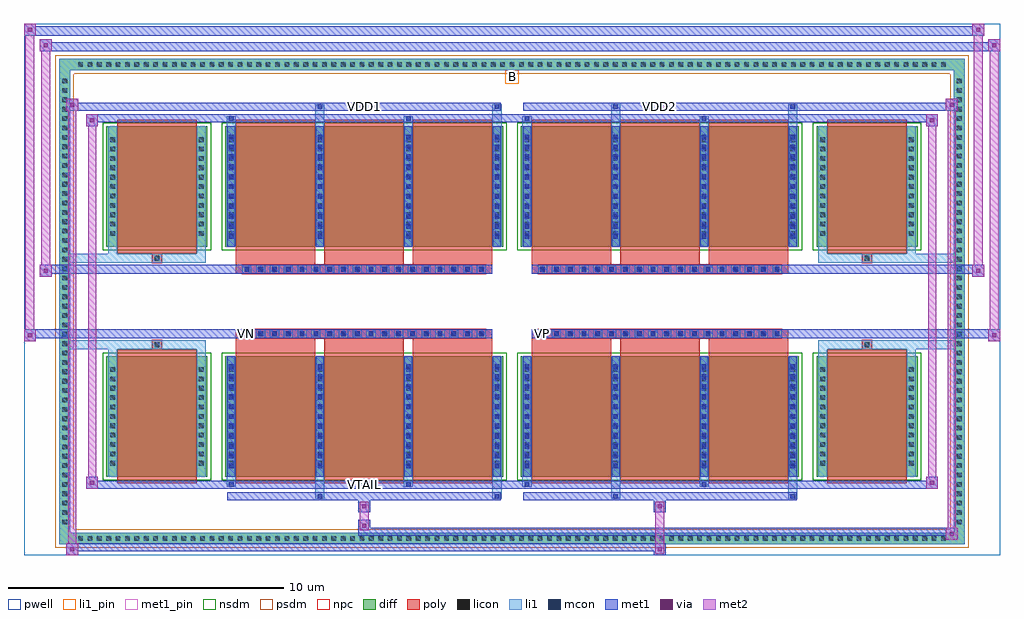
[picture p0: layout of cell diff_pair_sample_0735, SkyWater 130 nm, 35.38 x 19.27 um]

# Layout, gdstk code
import gdstk
lib = gdstk.Library(unit=1e-6, precision=5e-09)
def R(c, l, rs):  # rectangles x0, y0, x1, y1
    for r in rs: c.add(gdstk.rectangle(r[:2], r[2:], *l))
def A(c, l, x, y, w, h, nx, ny, dx, dy):  # array of equal rectangles
    R(c, l, [(x+i*dx, y+j*dy, x+i*dx+w, y+j*dy+h) for i in range(nx) for j in range(ny)])
def P(c, l, *ps):  # polygons
    for p in ps: c.add(gdstk.Polygon(p, *l))
pwell = (64, 44)
diff = (65, 20)
poly = (66, 20)
licon = (66, 44)
li1_pin = (67, 16)
li1 = (67, 20)
mcon = (67, 44)
met1_pin = (68, 16)
met1 = (68, 20)
via = (68, 44)
met2 = (69, 20)
nsdm = (93, 44)
psdm = (94, 20)
npc = (95, 20)

diff_pair_sample_0735 = lib.new_cell('diff_pair_sample_0735')
R(diff_pair_sample_0735, pwell, [(-17.69,-9.2,17.69,10.07), (-15.01,-7.39,-0.01,-0.805), (0.01,-7.39,15.01,-0.805), (-15.01,0.805,-0.01,7.39), (0.01,0.805,15.01,7.39)])
A(diff_pair_sample_0735, diff, -15.845, -8.8, 0.41, 0.41, 93, 2, 0.34, 17.19)
A(diff_pair_sample_0735, diff, -16.42, -8.195, 0.41, 0.41, 1, 48, 0, 0.34)
A(diff_pair_sample_0735, diff, 16.01, -8.195, 0.41, 0.41, 1, 48, 0, 0.34)
R(diff_pair_sample_0735, diff, [(-15.845,-8.8,15.845,-8.39), (-16.42,-8.195,-16.01,8.195), (16.01,-8.195,16.42,8.195), (-14.7,-6.345,-11.04,-1.985), (-10.4,-6.345,-0.32,-1.985), (0.32,-6.345,10.4,-1.985), (11.04,-6.345,14.7,-1.985), (-14.7,1.985,-11.04,6.345), (-10.4,1.985,-0.32,6.345), (0.32,1.985,10.4,6.345), (11.04,1.985,14.7,6.345), (-15.845,8.39,15.845,8.8)])
P(diff_pair_sample_0735, diff, [(16.42,8.8),(-16.42,8.8),(-16.42,-8.39),(-16.01,-8.39),(-16.01,8.39),(16.01,8.39),(16.01,-8.39),(-16.01,-8.39),(-16.42,-8.39),(-16.42,-8.8),(16.42,-8.8)])
A(diff_pair_sample_0735, poly, -10.01, -6.595, 2.88, 4.86, 3, 2, 3.21, 8.33)
A(diff_pair_sample_0735, poly, 0.71, -6.595, 2.88, 4.86, 3, 2, 3.21, 8.33)
A(diff_pair_sample_0735, poly, -10.01, -1.735, 2.88, 0.4, 3, 2, 3.21, 3.07)
A(diff_pair_sample_0735, poly, 0.71, -1.735, 2.88, 0.4, 3, 2, 3.21, 3.07)
A(diff_pair_sample_0735, poly, -9.775, -1.335, 0.33, 0.33, 18, 2, 0.5, 2.34)
A(diff_pair_sample_0735, poly, 0.945, -1.335, 0.33, 0.33, 18, 2, 0.5, 2.34)
R(diff_pair_sample_0735, poly, [(-14.31,-6.595,-11.43,-1.735), (11.43,-6.595,14.31,-1.735), (-13.035,-1.735,-12.705,-1.405), (-13.035,-1.735,-12.705,-1.405), (12.705,-1.735,13.035,-1.405), (12.705,-1.735,13.035,-1.405), (-10.01,-1.335,-0.71,-1.005), (0.71,-1.335,10.01,-1.005), (-10.01,1.005,-0.71,1.335), (0.71,1.005,10.01,1.335), (-13.035,1.405,-12.705,1.735), (-13.035,1.405,-12.705,1.735), (12.705,1.405,13.035,1.735), (12.705,1.405,13.035,1.735), (-14.31,1.735,-11.43,6.595), (11.43,1.735,14.31,6.595)])
A(diff_pair_sample_0735, licon, -15.725, -8.68, 0.17, 0.17, 93, 2, 0.34, 17.19)
A(diff_pair_sample_0735, licon, -16.3, -8.075, 0.17, 0.17, 1, 48, 0, 0.34)
A(diff_pair_sample_0735, licon, 16.13, -8.075, 0.17, 0.17, 1, 48, 0, 0.34)
A(diff_pair_sample_0735, licon, -14.56, -5.95, 0.17, 0.17, 1, 11, 0, 0.34)
A(diff_pair_sample_0735, licon, -11.35, -5.95, 0.17, 0.17, 1, 11, 0, 0.34)
A(diff_pair_sample_0735, licon, -10.26, -5.95, 0.17, 0.17, 4, 11, 3.21, 0.34)
A(diff_pair_sample_0735, licon, 0.46, -5.95, 0.17, 0.17, 4, 11, 3.21, 0.34)
A(diff_pair_sample_0735, licon, 11.18, -5.95, 0.17, 0.17, 1, 11, 0, 0.34)
A(diff_pair_sample_0735, licon, 14.39, -5.95, 0.17, 0.17, 1, 11, 0, 0.34)
A(diff_pair_sample_0735, licon, -9.695, -1.255, 0.17, 0.17, 18, 2, 0.5, 2.34)
A(diff_pair_sample_0735, licon, 1.025, -1.255, 0.17, 0.17, 18, 2, 0.5, 2.34)
A(diff_pair_sample_0735, licon, -14.56, 2.38, 0.17, 0.17, 1, 11, 0, 0.34)
A(diff_pair_sample_0735, licon, -11.35, 2.38, 0.17, 0.17, 1, 11, 0, 0.34)
A(diff_pair_sample_0735, licon, -10.26, 2.38, 0.17, 0.17, 4, 11, 3.21, 0.34)
A(diff_pair_sample_0735, licon, 0.46, 2.38, 0.17, 0.17, 4, 11, 3.21, 0.34)
A(diff_pair_sample_0735, licon, 11.18, 2.38, 0.17, 0.17, 1, 11, 0, 0.34)
A(diff_pair_sample_0735, licon, 14.39, 2.38, 0.17, 0.17, 1, 11, 0, 0.34)
R(diff_pair_sample_0735, licon, [(-12.955,-1.655,-12.785,-1.485), (12.785,-1.655,12.955,-1.485), (-12.955,1.485,-12.785,1.655), (12.785,1.485,12.955,1.655)])
R(diff_pair_sample_0735, li1_pin, [(-0.25,7.89,0.25,8.39)])
A(diff_pair_sample_0735, li1, -15.805, -8.76, 0.33, 0.33, 93, 2, 0.34, 17.19)
A(diff_pair_sample_0735, li1, -16.38, -8.155, 0.33, 0.33, 1, 48, 0, 0.34)
A(diff_pair_sample_0735, li1, 16.05, -8.155, 0.33, 0.33, 1, 48, 0, 0.34)
A(diff_pair_sample_0735, li1, -10.34, -6.345, 0.33, 4.36, 4, 2, 3.21, 8.33)
A(diff_pair_sample_0735, li1, 0.38, -6.345, 0.33, 4.36, 4, 2, 3.21, 8.33)
A(diff_pair_sample_0735, li1, -10.26, -6.05, 0.17, 0.17, 4, 11, 3.21, 0.36)
A(diff_pair_sample_0735, li1, -10.26, -6.05, 0.17, 3.77, 4, 2, 3.21, 8.33)
A(diff_pair_sample_0735, li1, 0.46, -6.05, 0.17, 0.17, 4, 11, 3.21, 0.36)
A(diff_pair_sample_0735, li1, 0.46, -6.05, 0.17, 3.77, 4, 2, 3.21, 8.33)
A(diff_pair_sample_0735, li1, -14.64, -6.03, 0.33, 0.33, 1, 11, 0, 0.34)
A(diff_pair_sample_0735, li1, -11.43, -6.03, 0.33, 0.33, 1, 11, 0, 0.34)
A(diff_pair_sample_0735, li1, -10.34, -6.03, 0.33, 0.33, 4, 11, 3.21, 0.34)
A(diff_pair_sample_0735, li1, 0.38, -6.03, 0.33, 0.33, 4, 11, 3.21, 0.34)
A(diff_pair_sample_0735, li1, 11.1, -6.03, 0.33, 0.33, 1, 11, 0, 0.34)
A(diff_pair_sample_0735, li1, 14.31, -6.03, 0.33, 0.33, 1, 11, 0, 0.34)
A(diff_pair_sample_0735, li1, -9.775, -1.335, 0.33, 0.33, 18, 2, 0.5, 2.34)
A(diff_pair_sample_0735, li1, 0.945, -1.335, 0.33, 0.33, 18, 2, 0.5, 2.34)
A(diff_pair_sample_0735, li1, -10.26, 2.28, 0.17, 0.17, 4, 11, 3.21, 0.36)
A(diff_pair_sample_0735, li1, 0.46, 2.28, 0.17, 0.17, 4, 11, 3.21, 0.36)
A(diff_pair_sample_0735, li1, -14.64, 2.3, 0.33, 0.33, 1, 11, 0, 0.34)
A(diff_pair_sample_0735, li1, -11.43, 2.3, 0.33, 0.33, 1, 11, 0, 0.34)
A(diff_pair_sample_0735, li1, -10.34, 2.3, 0.33, 0.33, 4, 11, 3.21, 0.34)
A(diff_pair_sample_0735, li1, 0.38, 2.3, 0.33, 0.33, 4, 11, 3.21, 0.34)
A(diff_pair_sample_0735, li1, 11.1, 2.3, 0.33, 0.33, 1, 11, 0, 0.34)
A(diff_pair_sample_0735, li1, 14.31, 2.3, 0.33, 0.33, 1, 11, 0, 0.34)
R(diff_pair_sample_0735, li1, [(-16.42,-8.8,-16.01,-8.39), (-16.42,-8.8,-16.01,-8.39), (-16.01,-8.8,16.01,-8.39), (16.01,-8.8,16.42,-8.39), (16.01,-8.8,16.42,-8.39), (-16.42,-8.39,-16.01,8.39), (16.01,-8.39,16.42,8.39), (-7.13,-7.15,-6.8,-6.345), (-7.05,-7.15,-6.88,-6.98), (-0.71,-7.15,-0.38,-6.345), (-0.63,-7.15,-0.46,-6.98), (3.59,-7.15,3.92,-6.345), (3.67,-7.15,3.84,-6.98), (10.01,-7.15,10.34,-6.345), (10.09,-7.15,10.26,-6.98), (-10.34,-6.72,-10.01,-6.345), (-10.26,-6.72,-10.09,-6.55), (-3.92,-6.72,-3.59,-6.345), (-3.84,-6.72,-3.67,-6.55), (0.38,-6.72,0.71,-6.345), (0.46,-6.72,0.63,-6.55), (6.8,-6.72,7.13,-6.345), (6.88,-6.72,7.05,-6.55), (-14.64,-6.345,-14.31,-1.985), (-11.43,-6.345,-11.1,-1.985), (11.1,-6.345,11.43,-1.985), (14.31,-6.345,14.64,-1.985), (-14.64,-1.985,-14.31,-1.405), (-11.43,-1.985,-11.1,-1.405), (11.1,-1.985,11.43,-1.405), (14.31,-1.985,14.64,-1.405), (-16.42,-1.735,-13.035,-1.405), (-14.64,-1.735,-13.035,-1.405), (-13.035,-1.735,-12.705,-1.405), (-12.705,-1.735,-11.1,-1.405), (11.1,-1.735,12.705,-1.405), (12.705,-1.735,13.035,-1.405), (12.705,-1.735,16.42,-1.405), (13.035,-1.735,14.64,-1.405), (-16.42,1.405,-13.035,1.735), (-14.64,1.405,-13.035,1.735), (-14.64,1.405,-14.31,1.985), (-13.035,1.405,-12.705,1.735), (-12.705,1.405,-11.1,1.735), (-11.43,1.405,-11.1,1.985), (11.1,1.405,12.705,1.735), (11.1,1.405,11.43,1.985), (12.705,1.405,13.035,1.735), (12.705,1.405,16.42,1.735), (13.035,1.405,14.64,1.735), (14.31,1.405,14.64,1.985), (-14.64,1.985,-14.31,6.345), (-11.43,1.985,-11.1,6.345), (11.1,1.985,11.43,6.345), (14.31,1.985,14.64,6.345), (-10.34,6.345,-10.01,6.72), (-7.13,6.345,-6.8,7.15), (-3.92,6.345,-3.59,6.72), (-0.71,6.345,-0.38,7.15), (0.38,6.345,0.71,6.72), (3.59,6.345,3.92,7.15), (6.8,6.345,7.13,6.72), (10.01,6.345,10.34,7.15), (-10.26,6.55,-10.09,6.72), (-3.84,6.55,-3.67,6.72), (0.46,6.55,0.63,6.72), (6.88,6.55,7.05,6.72), (-7.05,6.98,-6.88,7.15), (-0.63,6.98,-0.46,7.15), (3.67,6.98,3.84,7.15), (10.09,6.98,10.26,7.15), (-16.42,8.39,-16.01,8.8), (-16.42,8.39,-16.01,8.8), (-16.01,8.39,16.01,8.8), (16.01,8.39,16.42,8.8), (16.01,8.39,16.42,8.8)])
A(diff_pair_sample_0735, mcon, -10.26, -6.05, 0.17, 0.17, 4, 11, 3.21, 0.36)
A(diff_pair_sample_0735, mcon, 0.46, -6.05, 0.17, 0.17, 4, 11, 3.21, 0.36)
A(diff_pair_sample_0735, mcon, -9.695, -1.255, 0.17, 0.17, 18, 2, 0.5, 2.34)
A(diff_pair_sample_0735, mcon, 1.025, -1.255, 0.17, 0.17, 18, 2, 0.5, 2.34)
A(diff_pair_sample_0735, mcon, -10.26, 2.28, 0.17, 0.17, 4, 11, 3.21, 0.36)
A(diff_pair_sample_0735, mcon, 0.46, 2.28, 0.17, 0.17, 4, 11, 3.21, 0.36)
R(diff_pair_sample_0735, mcon, [(-7.05,-7.15,-6.88,-6.98), (-0.63,-7.15,-0.46,-6.98), (3.67,-7.15,3.84,-6.98), (10.09,-7.15,10.26,-6.98), (-10.26,-6.72,-10.09,-6.55), (-3.84,-6.72,-3.67,-6.55), (0.46,-6.72,0.63,-6.55), (6.88,-6.72,7.05,-6.55), (-10.26,6.55,-10.09,6.72), (-3.84,6.55,-3.67,6.72), (0.46,6.55,0.63,6.72), (6.88,6.55,7.05,6.72), (-7.05,6.98,-6.88,7.15), (-0.63,6.98,-0.46,7.15), (3.67,6.98,3.84,7.15), (10.09,6.98,10.26,7.15)])
R(diff_pair_sample_0735, met1_pin, [(-5.495,-6.76,-5.225,-6.49), (-9.745,-1.295,-9.475,-1.025), (0.975,-1.295,1.245,-1.025), (-5.495,6.94,-5.225,7.21), (5.225,6.94,5.495,7.21)])
A(diff_pair_sample_0735, met1, -10.32, -6.345, 0.29, 4.36, 4, 2, 3.21, 8.33)
A(diff_pair_sample_0735, met1, 0.4, -6.345, 0.29, 4.36, 4, 2, 3.21, 8.33)
A(diff_pair_sample_0735, met1, -10.32, -6.11, 0.29, 0.29, 4, 11, 3.21, 0.36)
A(diff_pair_sample_0735, met1, 0.4, -6.11, 0.29, 0.29, 4, 11, 3.21, 0.36)
A(diff_pair_sample_0735, met1, -9.755, -1.315, 0.29, 0.29, 18, 2, 0.5, 2.34)
A(diff_pair_sample_0735, met1, 0.965, -1.315, 0.29, 0.29, 18, 2, 0.5, 2.34)
A(diff_pair_sample_0735, met1, -10.32, 2.22, 0.29, 0.29, 4, 11, 3.21, 0.36)
A(diff_pair_sample_0735, met1, 0.4, 2.22, 0.29, 0.29, 4, 11, 3.21, 0.36)
R(diff_pair_sample_0735, met1, [(-16.15,-9.2,-15.72,-8.77), (5.145,-9.2,5.575,-8.77), (-16.15,-9.06,5.575,-8.77), (15.72,-8.63,16.15,-8.2), (-5.575,-8.49,16.15,-8.2), (-5.575,-8.35,-5.145,-7.92), (-5.575,-7.64,-5.145,-7.21), (5.145,-7.64,5.575,-7.21), (-10.32,-7.21,-0.4,-6.92), (-7.11,-7.21,-6.82,-6.92), (-0.69,-7.21,-0.4,-6.92), (0.4,-7.21,10.32,-6.92), (3.61,-7.21,3.9,-6.92), (10.03,-7.21,10.32,-6.92), (-15.44,-6.78,-15.01,-6.35), (-15.44,-6.78,-10.32,-6.49), (-10.32,-6.78,-10.03,-6.49), (-10.32,-6.78,-0.4,-6.49), (-3.9,-6.78,-3.61,-6.49), (-0.4,-6.78,0.4,-6.49), (0.4,-6.78,0.69,-6.49), (0.4,-6.78,10.32,-6.49), (6.82,-6.78,7.11,-6.49), (10.32,-6.78,15.44,-6.49), (15.01,-6.78,15.44,-6.35), (-17.69,-1.435,-17.26,-1.005), (17.26,-1.435,17.69,-1.005), (-17.69,-1.335,-0.71,-1.005), (-10.01,-1.335,-0.71,-1.005), (0.71,-1.335,10.01,-1.005), (0.71,-1.335,17.69,-1.005), (-17.12,0.905,-16.69,1.335), (16.69,0.905,17.12,1.335), (-17.12,1.005,-10.01,1.335), (-10.01,1.005,-0.71,1.335), (0.71,1.005,10.01,1.335), (10.01,1.005,17.12,1.335), (-15.44,6.35,-15.01,6.78), (15.01,6.35,15.44,6.78), (-15.44,6.49,-10.32,6.78), (-10.32,6.49,-10.03,6.78), (-10.32,6.49,-0.4,6.78), (-3.9,6.49,-3.61,6.78), (-0.4,6.49,0.4,6.78), (0.4,6.49,0.69,6.78), (0.4,6.49,10.32,6.78), (6.82,6.49,7.11,6.78), (10.32,6.49,15.44,6.78), (-16.15,6.92,-15.72,7.35), (-16.15,6.92,-10.32,7.21), (-10.32,6.92,-0.4,7.21), (-7.11,6.92,-6.82,7.21), (-0.69,6.92,-0.4,7.21), (0.4,6.92,10.32,7.21), (3.61,6.92,3.9,7.21), (10.03,6.92,10.32,7.21), (10.32,6.92,16.15,7.21), (15.72,6.92,16.15,7.35), (-17.12,9.07,-16.69,9.5), (-17.12,9.07,-15.01,9.4), (-15.01,9.07,15.01,9.4), (15.01,9.07,17.69,9.4), (17.26,9.07,17.69,9.5), (-17.69,9.64,-17.26,10.07), (-17.69,9.64,-15.01,9.97), (-15.01,9.64,15.01,9.97), (15.01,9.64,17.12,9.97), (16.69,9.64,17.12,10.07)])
R(diff_pair_sample_0735, via, [(-16.01,-9.06,-15.86,-8.91), (5.285,-9.06,5.435,-8.91), (15.86,-8.49,16.01,-8.34), (-5.435,-8.21,-5.285,-8.06), (-5.435,-7.5,-5.285,-7.35), (5.285,-7.5,5.435,-7.35), (-15.3,-6.64,-15.15,-6.49), (15.15,-6.64,15.3,-6.49), (-17.55,-1.295,-17.4,-1.145), (17.4,-1.295,17.55,-1.145), (-16.98,1.045,-16.83,1.195), (16.83,1.045,16.98,1.195), (-15.3,6.49,-15.15,6.64), (15.15,6.49,15.3,6.64), (-16.01,7.06,-15.86,7.21), (15.86,7.06,16.01,7.21), (-16.98,9.21,-16.83,9.36), (17.4,9.21,17.55,9.36), (-17.55,9.78,-17.4,9.93), (16.83,9.78,16.98,9.93)])
R(diff_pair_sample_0735, met2, [(-16.15,-9.2,-15.72,-8.77), (-16.08,-9.2,-15.79,7.35), (-15.79,-9.2,-15.72,-8.77), (-16.1,-9.15,-15.77,-8.82), (5.195,-9.15,5.525,-8.82), (5.195,-8.82,5.525,-7.59), (15.72,-8.63,16.15,-8.2), (15.79,-8.63,16.08,7.35), (16.08,-8.63,16.15,-8.2), (15.77,-8.58,16.1,-8.25), (-5.525,-8.3,-5.195,-7.97), (-5.525,-7.97,-5.195,-7.59), (-5.525,-7.59,-5.195,-7.26), (5.195,-7.59,5.525,-7.26), (-15.44,-6.78,-15.01,-6.35), (-15.37,-6.78,-15.08,6.78), (-15.08,-6.78,-15.01,-6.35), (15.01,-6.78,15.44,-6.35), (15.08,-6.78,15.37,6.78), (15.37,-6.78,15.44,-6.35), (-15.39,-6.73,-15.06,-6.4), (15.06,-6.73,15.39,-6.4), (-17.69,-1.435,-17.26,-1.005), (-17.64,-1.435,-17.31,10.07), (-17.31,-1.435,-17.26,-1.005), (17.26,-1.435,17.69,-1.005), (17.31,-1.435,17.64,9.5), (17.64,-1.435,17.69,-1.005), (-17.64,-1.385,-17.31,-1.055), (17.31,-1.385,17.64,-1.055), (-17.12,0.905,-16.69,1.335), (-17.07,0.905,-16.74,9.5), (-16.74,0.905,-16.69,1.335), (16.69,0.905,17.12,1.335), (16.74,0.905,17.07,10.07), (17.07,0.905,17.12,1.335), (-17.07,0.955,-16.74,1.285), (16.74,0.955,17.07,1.285), (-15.44,6.35,-15.01,6.78), (-15.08,6.35,-15.01,6.78), (15.01,6.35,15.44,6.78), (15.37,6.35,15.44,6.78), (-15.39,6.4,-15.06,6.73), (15.06,6.4,15.39,6.73), (-16.15,6.92,-15.72,7.35), (-15.79,6.92,-15.72,7.35), (15.72,6.92,16.15,7.35), (16.08,6.92,16.15,7.35), (-16.1,6.97,-15.77,7.3), (15.77,6.97,16.1,7.3), (-17.12,9.07,-16.69,9.5), (-16.74,9.07,-16.69,9.5), (17.26,9.07,17.69,9.5), (17.64,9.07,17.69,9.5), (-17.07,9.12,-16.74,9.45), (17.31,9.12,17.64,9.45), (-17.69,9.64,-17.26,10.07), (-17.31,9.64,-17.26,10.07), (16.69,9.64,17.12,10.07), (17.07,9.64,17.12,10.07), (-17.64,9.69,-17.31,10.02), (16.74,9.69,17.07,10.02)])
R(diff_pair_sample_0735, nsdm, [(-14.83,-6.475,-10.91,-1.855), (-10.53,-6.475,-0.19,-1.855), (0.19,-6.475,10.53,-1.855), (10.91,-6.475,14.83,-1.855), (-14.83,1.855,-10.91,6.475), (-10.53,1.855,-0.19,6.475), (0.19,1.855,10.53,6.475), (10.91,1.855,14.83,6.475)])
P(diff_pair_sample_0735, psdm, [(16.55,8.93),(-16.55,8.93),(-16.55,-8.26),(-15.88,-8.26),(-15.88,8.26),(15.88,8.26),(15.88,-8.26),(-15.88,-8.26),(-16.55,-8.26),(-16.55,-8.93),(16.55,-8.93)])
A(diff_pair_sample_0735, npc, -9.795, -1.355, 0.37, 0.37, 18, 2, 0.5, 2.34)
A(diff_pair_sample_0735, npc, 0.925, -1.355, 0.37, 0.37, 18, 2, 0.5, 2.34)
R(diff_pair_sample_0735, npc, [(-13.055,-1.755,-12.685,-1.385), (12.685,-1.755,13.055,-1.385), (-9.795,-1.355,-8.925,-0.985), (-9.795,-1.355,-8.925,-0.985), (-9.295,-1.355,-8.425,-0.985), (-9.295,-1.355,-8.425,-0.985), (-8.795,-1.355,-7.925,-0.985), (-8.795,-1.355,-7.925,-0.985), (-8.295,-1.355,-7.425,-0.985), (-8.295,-1.355,-7.425,-0.985), (-7.795,-1.355,-6.925,-0.985), (-7.795,-1.355,-6.925,-0.985), (-7.295,-1.355,-6.425,-0.985), (-7.295,-1.355,-6.425,-0.985), (-6.795,-1.355,-5.925,-0.985), (-6.795,-1.355,-5.925,-0.985), (-6.295,-1.355,-5.425,-0.985), (-6.295,-1.355,-5.425,-0.985), (-5.795,-1.355,-4.925,-0.985), (-5.795,-1.355,-4.925,-0.985), (-5.295,-1.355,-4.425,-0.985), (-5.295,-1.355,-4.425,-0.985), (-4.795,-1.355,-3.925,-0.985), (-4.795,-1.355,-3.925,-0.985), (-4.295,-1.355,-3.425,-0.985), (-4.295,-1.355,-3.425,-0.985), (-3.795,-1.355,-2.925,-0.985), (-3.795,-1.355,-2.925,-0.985), (-3.295,-1.355,-2.425,-0.985), (-3.295,-1.355,-2.425,-0.985), (-2.795,-1.355,-1.925,-0.985), (-2.795,-1.355,-1.925,-0.985), (-2.295,-1.355,-1.425,-0.985), (-2.295,-1.355,-1.425,-0.985), (-1.795,-1.355,-0.925,-0.985), (-1.795,-1.355,-0.925,-0.985), (0.925,-1.355,1.795,-0.985), (0.925,-1.355,1.795,-0.985), (1.425,-1.355,2.295,-0.985), (1.425,-1.355,2.295,-0.985), (1.925,-1.355,2.795,-0.985), (1.925,-1.355,2.795,-0.985), (2.425,-1.355,3.295,-0.985), (2.425,-1.355,3.295,-0.985), (2.925,-1.355,3.795,-0.985), (2.925,-1.355,3.795,-0.985), (3.425,-1.355,4.295,-0.985), (3.425,-1.355,4.295,-0.985), (3.925,-1.355,4.795,-0.985), (3.925,-1.355,4.795,-0.985), (4.425,-1.355,5.295,-0.985), (4.425,-1.355,5.295,-0.985), (4.925,-1.355,5.795,-0.985), (4.925,-1.355,5.795,-0.985), (5.425,-1.355,6.295,-0.985), (5.425,-1.355,6.295,-0.985), (5.925,-1.355,6.795,-0.985), (5.925,-1.355,6.795,-0.985), (6.425,-1.355,7.295,-0.985), (6.425,-1.355,7.295,-0.985), (6.925,-1.355,7.795,-0.985), (6.925,-1.355,7.795,-0.985), (7.425,-1.355,8.295,-0.985), (7.425,-1.355,8.295,-0.985), (7.925,-1.355,8.795,-0.985), (7.925,-1.355,8.795,-0.985), (8.425,-1.355,9.295,-0.985), (8.425,-1.355,9.295,-0.985), (8.925,-1.355,9.795,-0.985), (8.925,-1.355,9.795,-0.985), (-9.795,0.985,-8.925,1.355), (-9.795,0.985,-8.925,1.355), (-9.295,0.985,-8.425,1.355), (-9.295,0.985,-8.425,1.355), (-8.795,0.985,-7.925,1.355), (-8.795,0.985,-7.925,1.355), (-8.295,0.985,-7.425,1.355), (-8.295,0.985,-7.425,1.355), (-7.795,0.985,-6.925,1.355), (-7.795,0.985,-6.925,1.355), (-7.295,0.985,-6.425,1.355), (-7.295,0.985,-6.425,1.355), (-6.795,0.985,-5.925,1.355), (-6.795,0.985,-5.925,1.355), (-6.295,0.985,-5.425,1.355), (-6.295,0.985,-5.425,1.355), (-5.795,0.985,-4.925,1.355), (-5.795,0.985,-4.925,1.355), (-5.295,0.985,-4.425,1.355), (-5.295,0.985,-4.425,1.355), (-4.795,0.985,-3.925,1.355), (-4.795,0.985,-3.925,1.355), (-4.295,0.985,-3.425,1.355), (-4.295,0.985,-3.425,1.355), (-3.795,0.985,-2.925,1.355), (-3.795,0.985,-2.925,1.355), (-3.295,0.985,-2.425,1.355), (-3.295,0.985,-2.425,1.355), (-2.795,0.985,-1.925,1.355), (-2.795,0.985,-1.925,1.355), (-2.295,0.985,-1.425,1.355), (-2.295,0.985,-1.425,1.355), (-1.795,0.985,-0.925,1.355), (-1.795,0.985,-0.925,1.355), (0.925,0.985,1.795,1.355), (0.925,0.985,1.795,1.355), (1.425,0.985,2.295,1.355), (1.425,0.985,2.295,1.355), (1.925,0.985,2.795,1.355), (1.925,0.985,2.795,1.355), (2.425,0.985,3.295,1.355), (2.425,0.985,3.295,1.355), (2.925,0.985,3.795,1.355), (2.925,0.985,3.795,1.355), (3.425,0.985,4.295,1.355), (3.425,0.985,4.295,1.355), (3.925,0.985,4.795,1.355), (3.925,0.985,4.795,1.355), (4.425,0.985,5.295,1.355), (4.425,0.985,5.295,1.355), (4.925,0.985,5.795,1.355), (4.925,0.985,5.795,1.355), (5.425,0.985,6.295,1.355), (5.425,0.985,6.295,1.355), (5.925,0.985,6.795,1.355), (5.925,0.985,6.795,1.355), (6.425,0.985,7.295,1.355), (6.425,0.985,7.295,1.355), (6.925,0.985,7.795,1.355), (6.925,0.985,7.795,1.355), (7.425,0.985,8.295,1.355), (7.425,0.985,8.295,1.355), (7.925,0.985,8.795,1.355), (7.925,0.985,8.795,1.355), (8.425,0.985,9.295,1.355), (8.425,0.985,9.295,1.355), (8.925,0.985,9.795,1.355), (8.925,0.985,9.795,1.355), (-13.055,1.385,-12.685,1.755), (12.685,1.385,13.055,1.755)])
diff_pair_sample_0735.add(gdstk.Label('VTAIL', (-5.36,-6.625), layer=68, texttype=5))
diff_pair_sample_0735.add(gdstk.Label('VN', (-9.61,-1.16), layer=68, texttype=5))
diff_pair_sample_0735.add(gdstk.Label('VP', (1.11,-1.16), layer=68, texttype=5))
diff_pair_sample_0735.add(gdstk.Label('B', (0,8.14), layer=67, texttype=5))
diff_pair_sample_0735.add(gdstk.Label('VDD2', (5.36,7.075), layer=68, texttype=5))
diff_pair_sample_0735.add(gdstk.Label('VDD1', (-5.36,7.075), layer=68, texttype=5))

lib.write_gds('diff_pair_sample_0735.gds')
